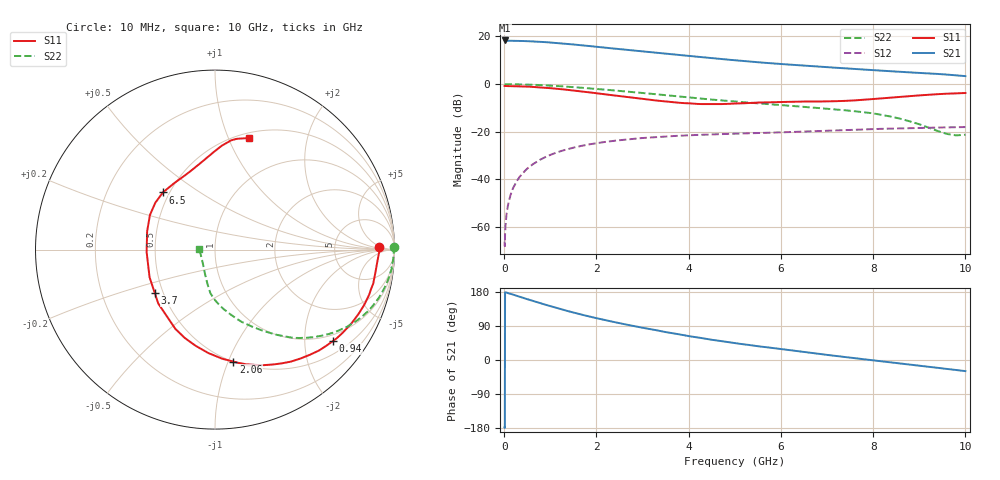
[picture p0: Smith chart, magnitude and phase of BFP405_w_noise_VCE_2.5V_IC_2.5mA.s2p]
! Infineon Technologies  Discrete & RF Semiconductors
! BFP405
! VCE =  2.5 V,  IC =  2.5 mA
! Common Emitter S-Parameters:  Jan 2016
# GHz  S  MA  R  50
!  f  S11  S21  S12  S22
! GHz  MAG  ANG  MAG  ANG  MAG  ANG  MAG  ANG
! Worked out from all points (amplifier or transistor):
!   233 points, 10 MHz to 10 GHz, reference 50 ohm
!   highest |S21| = 18.3 dB at 10 MHz (marker M1)
!   |S21| within 3 dB of that: start of sweep to 2.178 GHz
!   unconditionally stable (mu >= 1): 4.119 GHz to end of sweep
!   at 200 MHz: K = 0.05, MSG = 30.7 dB, |S12| = -43.3 dB
!   at 1.74 GHz: K = 0.37, MSG = 20.9 dB, |S12| = -25.7 dB
!   at 10 GHz: K = 1.62, MAG = 6.1 dB, |S12| = -18.0 dB
!   lowest NFmin = 0.94 dB at 900 MHz
!   S11 on the Smith chart (normalised r, x): 10 MHz: 22, +4; 940 MHz: 0.82, -2.71; 2.06 GHz: 0.50, -1.04; 3.7 GHz: 0.45, -0.26; 6.5 GHz: 0.46, +0.36; 10 GHz: 0.55, +1.20
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0.01  0.9148 1.0  8.225 -177.6  0.0005 -18.5  1 0.9
0.015  0.9154 0.2  8.16 -179.4  0.0004 43.9  0.9964 0.5
0.02  0.9162 -0.5  8.103 178.7  0.0007 83.2  0.9928 0.1
0.05  0.9101 -2.5  8.068 178.2  0.0018 90.7  0.9958 -0.7
0.08  0.9079 -3.5  8.093 176.7  0.0028 87.9  0.996 -1.4
0.2  0.9029 -8.0  8.081 172.1  0.0068 86.0  0.9929 -4.1
0.5  0.8868 -20.3  7.959 160.7  0.0169 79.9  0.9777 -10.2
0.8  0.8518 -32.3  7.696 149.4  0.0266 73.6  0.9526 -16.2
0.94  0.8319 -37.7  7.532 144.3  0.0309 70.7  0.9375 -18.9
1.3  0.7718 -51.8  7.063 131.8  0.0413 63.6  0.8927 -25.5
1.68  0.7022 -66.3  6.524 119.7  0.0507 56.5  0.8385 -31.6
2.06  0.6325 -80.7  5.979 108.8  0.0588 50.3  0.7835 -37.1
2.62  0.5442 -101.9  5.27 94.2  0.0686 42.3  0.7043 -44.2
3  0.4937 -116.6  4.854 85.1  0.0741 37.5  0.6522 -48.8
3.4  0.4429 -132.1  4.447 76.2  0.0788 32.9  0.5981 -53.0
3.7  0.4136 -144.2  4.166 69.7  0.0818 29.7  0.5605 -56.2
4.5  0.3812 -178.0  3.515 53.4  0.0884 22.3  0.4736 -64.6
5.1  0.3937 162.3  3.101 42.9  0.0919 17.9  0.4232 -70.4
6.5  0.431 132.4  2.451 21.2  0.1012 10.4  0.3334 -82.0
6.8  0.4312 125.8  2.337 16.7  0.1037 8.8  0.3157 -84.5
8.4  0.5234 93.6  1.855 -6.5  0.1168 -1.4  0.207 -100.7
10  0.6507 72.9  1.47 -29.3  0.1257 -11.0  0.0868 179.2
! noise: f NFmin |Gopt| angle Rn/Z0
0.9  0.94  0.53  14  0.37
1.8  1.25  0.42  26  0.35
2.4  1.45  0.36  35  0.34
3  1.48  0.34  51  0.32
4  1.69  0.22  76  0.25
5  2.05  0.17  117  0.21
